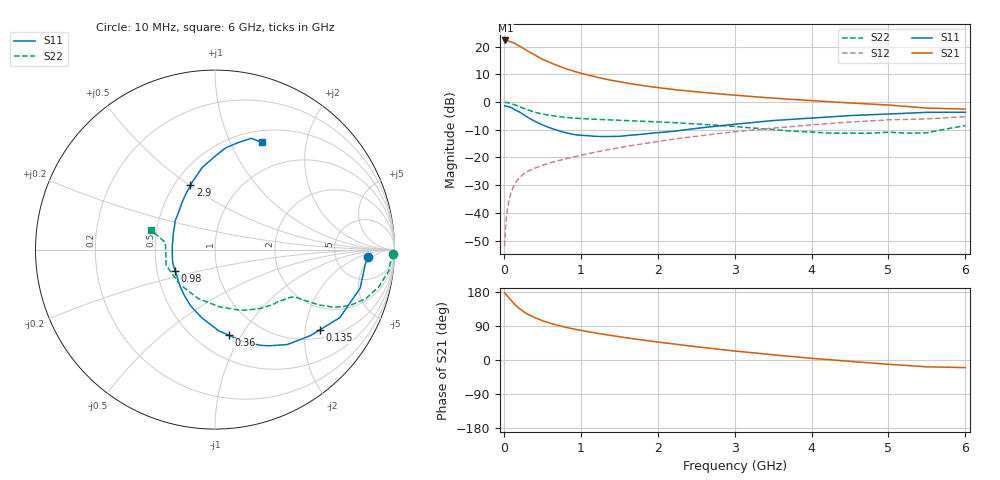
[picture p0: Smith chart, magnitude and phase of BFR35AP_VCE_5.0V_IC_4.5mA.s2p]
! (c) 2015  Infineon Technologies AG, Munich
! Infineon Technologies  Discrete & RF Semiconductors
! BFR35AP
! VCE =  5.0 V,  IC =  4.5 mA
! Common Emitter S-Parameters:  Nov 2015
# GHz  S  MA  R  50
!  f  S11  S21  S12  S22
! GHz  MAG  ANG  MAG  ANG  MAG  ANG  MAG  ANG
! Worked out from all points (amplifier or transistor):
!   210 points, 10 MHz to 6 GHz, reference 50 ohm
!   highest |S21| = 22.2 dB at 20 MHz (marker M1)
!   |S21| within 3 dB of that: start of sweep to 260.6 MHz
!   unconditionally stable (mu >= 1): 853.3 MHz to 3.309 GHz
!   at 185 MHz: K = 0.35, MSG = 24.2 dB, |S12| = -27.9 dB
!   at 1.52 GHz: K = 1.12, MAG = 9.7 dB, |S12| = -16.4 dB
!   at 6 GHz: K = 0.94, MSG = 1.4 dB, |S12| = -5.3 dB
!   S11 on the Smith chart (normalised r, x): 10 MHz: 11, -4; 135 MHz: 1.22, -2.39; 360 MHz: 0.71, -0.88; 980 MHz: 0.62, -0.16; 2.9 GHz: 0.60, +0.50; 6 GHz: 0.63, +1.32
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0.01  0.8524 -2.9  12.86 177.5  0.0025 95.2  0.9936 -1.3
0.02  0.8407 -5.8  12.92 174.7  0.0049 87.4  0.9819 -2.7
0.05  0.8367 -14.9  12.83 167.5  0.0123 82.8  0.9768 -6.8
0.1  0.7922 -28.6  12.1 156.2  0.0248 75.0  0.9358 -12.8
0.135  0.735 -37.6  11.5 148.2  0.0316 70.6  0.8984 -16.4
0.15  0.7167 -41.9  11.31 144.6  0.0346 69.3  0.8835 -18.0
0.2  0.6649 -52.7  10.31 136.1  0.0427 64.5  0.8271 -21.6
0.3  0.5401 -72.4  8.494 121.6  0.0555 59.2  0.731 -26.0
0.36  0.4828 -80.9  7.613 116.2  0.0604 57.6  0.6863 -27.1
0.4  0.4517 -87.6  7.07 111.9  0.0637 56.6  0.6566 -28.0
0.5  0.3879 -100.7  5.923 103.6  0.0717 55.7  0.6059 -28.9
0.6  0.3427 -113.1  5.143 97.1  0.0796 55.6  0.5738 -29.5
0.8  0.2797 -134.9  4.023 86.5  0.094 56.1  0.5288 -30.4
0.98  0.2523 -151.3  3.373 79.0  0.1078 56.9  0.5058 -31.5
1.02  0.2496 -155.3  3.258 77.5  0.1108 57.0  0.5019 -31.9
1.4  0.2396 173.1  2.461 64.5  0.1411 57.2  0.4748 -36.0
2.02  0.2812 139.3  1.806 46.9  0.196 55.3  0.4366 -45.5
2.9  0.383 110.9  1.366 26.0  0.28 48.5  0.3705 -65.5
3.1  0.4088 106.5  1.296 21.8  0.2992 46.4  0.3516 -71.5
4.1  0.5255 89.3  1.039 2.9  0.3957 34.9  0.2813 -113.9
5.1  0.6156 76.9  0.86 -12.6  0.48 20.9  0.28 -167.1
6  0.6527 66.6  0.744 -20.1  0.5444 10.2  0.3753 162.7
